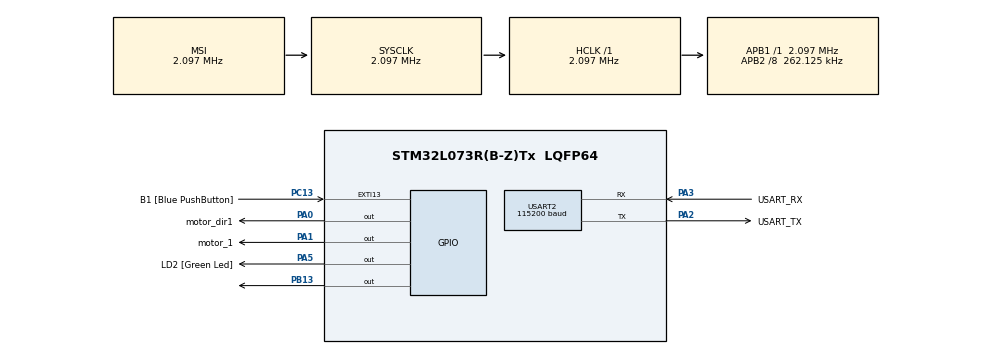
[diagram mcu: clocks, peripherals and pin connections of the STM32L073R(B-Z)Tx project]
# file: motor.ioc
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FREERTOS.BinarySemaphores01=myBinarySem01,Dynamic,NULL;UARTSem02,Dynamic,NULL
FREERTOS.Queues01=myQueue01,4,uint32_t,0,Dynamic,NULL,NULL
FREERTOS.Tasks01=defaultTask,40,128,StartDefaultTask,Default,NULL,Dynamic,NULL,NULL;Stepper_Task1,8,128,StartTask02,Default,NULL,Dynamic,NULL,NULL;Stepper_Task2,8,128,StartTask03,Default,NULL,Dynamic,NULL,NULL
FREERTOS.configUSE_NEWLIB_REENTRANT=1
Mcu.Family=STM32L0
Mcu.Name=STM32L073R(B-Z)Tx
Mcu.Package=LQFP64
NVIC.TIM6_DAC_IRQn=true\:3\:0\:false\:false\:true\:false\:false\:true\:true
NVIC.TimeBase=TIM6_DAC_IRQn
NVIC.TimeBaseIP=TIM6
NVIC.USART2_IRQn=true\:3\:0\:false\:false\:true\:true\:true\:true\:true
PA0.GPIO_Label=motor_dir1
PA0.Signal=GPIO_Output
PA1.GPIO_Label=motor_1
PA1.Signal=GPIO_Output
PA13.GPIO_Label=TMS
PA13.Mode=Serial_Wire
PA13.Signal=SYS_SWDIO
PA14.GPIO_Label=TCK
PA14.Mode=Serial_Wire
PA14.Signal=SYS_SWCLK
PA2.GPIO_Label=USART_TX
PA2.Mode=Asynchronous
PA2.Signal=USART2_TX
PA3.GPIO_Label=USART_RX
PA3.Mode=Asynchronous
PA3.Signal=USART2_RX
PA5.GPIO_Label=LD2 [Green Led]
PA5.Signal=GPIO_Output
PB13.Signal=GPIO_Output
PC13.GPIO_Label=B1 [Blue PushButton]
PC13.GPIO_ModeDefaultEXTI=GPIO_MODE_IT_FALLING
PC13.Signal=GPXTI13
PC14-OSC32_IN.Mode=LSE-External-Oscillator
PC14-OSC32_IN.Signal=RCC_OSC32_IN
PC15-OSC32_OUT.Mode=LSE-External-Oscillator
PC15-OSC32_OUT.Signal=RCC_OSC32_OUT
PH0-OSC_IN.GPIO_Label=MCO
PH0-OSC_IN.Mode=HSE-External-Oscillator
PH0-OSC_IN.Signal=RCC_OSC_IN
PH1-OSC_OUT.Mode=HSE-External-Oscillator
PH1-OSC_OUT.Signal=RCC_OSC_OUT
ProjectManager.HeapSize=0x200
ProjectManager.StackSize=0x400
ProjectManager.TargetToolchain=STM32CubeIDE
RCC.AHBFreq_Value=2097000
RCC.APB1Freq_Value=2097000
RCC.APB1TimFreq_Value=2097000
RCC.APB2CLKDivider=RCC_HCLK_DIV8
RCC.APB2Freq_Value=262125
RCC.APB2TimFreq_Value=524250
RCC.HCLKFreq_Value=2097000
RCC.HSE_VALUE=8000000
RCC.HSI16_VALUE=16000000
RCC.HSI48_VALUE=48000000
RCC.HSI_VALUE=16000000
RCC.MSI_VALUE=2097000
RCC.PLLMUL=RCC_PLLMUL_8
RCC.PLLSourceVirtual=RCC_PLLSOURCE_HSE
RCC.SYSCLKFreq_VALUE=2097000
RCC.Usart2ClockSelection=RCC_USART2CLKSOURCE_SYSCLK
RCC.VCOOutputFreq_Value=64000000
USART2.BaudRate=115200
USART2.VirtualMode-Asynchronous=VM_ASYNC
VP_FREERTOS_VS_CMSIS_V2.Mode=CMSIS_V2
VP_SYS_VS_tim6.Mode=TIM6
board=NUCLEO-L073RZ

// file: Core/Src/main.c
/* USER CODE BEGIN Header */
/**
  ******************************************************************************
  * @file           : main.c
  * @brief          : Main program body
  ******************************************************************************
  * @attention
  *
  * Copyright (c) 2024 STMicroelectronics.
  * All rights reserved.
  *
  * This software is licensed under terms that can be found in the LICENSE file
  * in the root directory of this software component.
  * If no LICENSE file comes with this software, it is provided AS-IS.
  *
  ******************************************************************************
  */
/* USER CODE END Header */
#include "main.h"
#include "cmsis_os.h"

/* USER CODE BEGIN Includes */
#include "stdio.h"
#include "string.h"
#include "Motor_control.h"
/* USER CODE END Includes */

/* USER CODE BEGIN PTD */

#ifdef __GNUC__
#define PUTCHAR_PROTOTYPE int __io_putchar(int ch)
#else
#define PUTCHAR_PROTOTYPE int fputc(int ch, FILE *f)
#endif
/* USER CODE END PTD */

 UART_HandleTypeDef huart2;

/* Definitions for defaultTask */
osThreadId_t defaultTaskHandle;
const osThreadAttr_t defaultTask_attributes = {
  .name = "defaultTask",
  .stack_size = 128 * 4,
  .priority = (osPriority_t) osPriorityHigh,
};
/* Definitions for Stepper_Task1 */
osThreadId_t Stepper_Task1Handle;
const osThreadAttr_t Stepper_Task1_attributes = {
  .name = "Stepper_Task1",
  .stack_size = 128 * 4,
  .priority = (osPriority_t) osPriorityLow,
};
/* Definitions for Stepper_Task2 */
osThreadId_t Stepper_Task2Handle;
const osThreadAttr_t Stepper_Task2_attributes = {
  .name = "Stepper_Task2",
  .stack_size = 128 * 4,
  .priority = (osPriority_t) osPriorityLow,
};
/* Definitions for myQueue01 */
osMessageQueueId_t myQueue01Handle;
const osMessageQueueAttr_t myQueue01_attributes = {
  .name = "myQueue01"
};
/* Definitions for myBinarySem01 */
osSemaphoreId_t myBinarySem01Handle;
const osSemaphoreAttr_t myBinarySem01_attributes = {
  .name = "myBinarySem01"
};
/* Definitions for UARTSem02 */
osSemaphoreId_t UARTSem02Handle;
const osSemaphoreAttr_t UARTSem02_attributes = {
  .name = "UARTSem02"
};
/* USER CODE BEGIN PV */

// Variables to hold incoming data
uint8_t rxByte;             // To hold one byte of data from the interrupt
uint8_t rxBuffer[20];       // Buffer to store the incoming command
uint8_t temp[5];  // Index to keep track of buffer position
int ind  = 0;

StepperMotor_t motor1 = {
				      .STEP_Port = motor_1_GPIO_Port,
				      .STEP_Pin = motor_1_Pin,
				      .DIR_Port = motor_dir1_GPIO_Port,
				      .DIR_Pin = motor_dir1_Pin,
				      .stepDelay = 1  // 1 ms delay between steps
				  };

MotorCommand_t Motorcommad1 ={
				.motorId= &motor1,
				  .targetAngle = 10,
				 .stepDelay=1
				  };
/* USER CODE END PV */

void SystemClock_Config(void);
static void MX_GPIO_Init(void);
static void MX_USART2_UART_Init(void);
void StartDefaultTask(void *argument);
void StartTask02(void *argument);
void StartTask03(void *argument);

int main(void)
{

  /* MCU Configuration--------------------------------------------------------*/

  /* Reset of all peripherals, Initializes the Flash interface and the Systick. */
  HAL_Init();

  /* Configure the system clock */
  SystemClock_Config();

  /* Initialize all configured peripherals */
  MX_GPIO_Init();
  MX_USART2_UART_Init();

  /* Init scheduler */
  osKernelInitialize();

  /* Create the semaphores(s) */
  /* creation of myBinarySem01 */
  myBinarySem01Handle = osSemaphoreNew(1, 1, &myBinarySem01_attributes);

  /* creation of UARTSem02 */
  UARTSem02Handle = osSemaphoreNew(1, 0, &UARTSem02_attributes);

  /* USER CODE BEGIN RTOS_SEMAPHORES */
  UARTSem02Handle = osSemaphoreNew(1, 0, &UARTSem02_attributes);
  /* add semaphores, ... */

  /* USER CODE END RTOS_SEMAPHORES */

  /* Create the queue(s) */
  /* creation of myQueue01 */
  myQueue01Handle = osMessageQueueNew (4, sizeof(uint32_t), &myQueue01_attributes);

  /* USER CODE BEGIN RTOS_QUEUES */
  /* add queues, ... */
  myQueue01Handle = osMessageQueueNew (16, sizeof(MotorCommand_t), &myQueue01_attributes);
  /* USER CODE END RTOS_QUEUES */

  /* Create the thread(s) */
  /* creation of defaultTask */
  defaultTaskHandle = osThreadNew(StartDefaultTask, NULL, &defaultTask_attributes);

  /* creation of Stepper_Task1 */
  Stepper_Task1Handle = osThreadNew(StartTask02, NULL, &Stepper_Task1_attributes);

  /* creation of Stepper_Task2 */
  Stepper_Task2Handle = osThreadNew(StartTask03, NULL, &Stepper_Task2_attributes);

  /* USER CODE BEGIN RTOS_EVENTS */
  /* add events, ... */
  printf("HELLOWORLD");
  /* USER CODE END RTOS_EVENTS */

  /* Start scheduler */
  osKernelStart();

  /* We should never get here as control is now taken by the scheduler */
  /* Infinite loop */
  /* USER CODE BEGIN WHILE */
  //osSemaphoreAcquire(UARTSem02Handle, osWaitForever);
  while (1)
  {
    /* USER CODE END WHILE */

  }
}

void SystemClock_Config(void)
{
  RCC_OscInitTypeDef RCC_OscInitStruct = {0};
  RCC_ClkInitTypeDef RCC_ClkInitStruct = {0};
  RCC_PeriphCLKInitTypeDef PeriphClkInit = {0};

  /** Configure the main internal regulator output voltage
  */
  __HAL_PWR_VOLTAGESCALING_CONFIG(PWR_REGULATOR_VOLTAGE_SCALE1);

  /** Initializes the RCC Oscillators according to the specified parameters
  * in the RCC_OscInitTypeDef structure.
  */
  RCC_OscInitStruct.OscillatorType = RCC_OSCILLATORTYPE_MSI;
  RCC_OscInitStruct.MSIState = RCC_MSI_ON;
  RCC_OscInitStruct.MSICalibrationValue = 0;
  RCC_OscInitStruct.MSIClockRange = RCC_MSIRANGE_5;
  RCC_OscInitStruct.PLL.PLLState = RCC_PLL_NONE;
  if (HAL_RCC_OscConfig(&RCC_OscInitStruct) != HAL_OK)
  {
    Error_Handler();
  }

  /** Initializes the CPU, AHB and APB buses clocks
  */
  RCC_ClkInitStruct.ClockType = RCC_CLOCKTYPE_HCLK|RCC_CLOCKTYPE_SYSCLK
                              |RCC_CLOCKTYPE_PCLK1|RCC_CLOCKTYPE_PCLK2;
  RCC_ClkInitStruct.SYSCLKSource = RCC_SYSCLKSOURCE_MSI;
  RCC_ClkInitStruct.AHBCLKDivider = RCC_SYSCLK_DIV1;
  RCC_ClkInitStruct.APB1CLKDivider = RCC_HCLK_DIV1;
  RCC_ClkInitStruct.APB2CLKDivider = RCC_HCLK_DIV8;

  if (HAL_RCC_ClockConfig(&RCC_ClkInitStruct, FLASH_LATENCY_0) != HAL_OK)
  {
    Error_Handler();
  }
  PeriphClkInit.PeriphClockSelection = RCC_PERIPHCLK_USART2;
  PeriphClkInit.Usart2ClockSelection = RCC_USART2CLKSOURCE_SYSCLK;
  if (HAL_RCCEx_PeriphCLKConfig(&PeriphClkInit) != HAL_OK)
  {
    Error_Handler();
  }
}

static void MX_USART2_UART_Init(void)
{

  huart2.Instance = USART2;
  huart2.Init.BaudRate = 115200;
  huart2.Init.WordLength = UART_WORDLENGTH_8B;
  huart2.Init.StopBits = UART_STOPBITS_1;
  huart2.Init.Parity = UART_PARITY_NONE;
  huart2.Init.Mode = UART_MODE_TX_RX;
  huart2.Init.HwFlowCtl = UART_HWCONTROL_NONE;
  huart2.Init.OverSampling = UART_OVERSAMPLING_16;
  huart2.Init.OneBitSampling = UART_ONE_BIT_SAMPLE_DISABLE;
  huart2.AdvancedInit.AdvFeatureInit = UART_ADVFEATURE_NO_INIT;
  if (HAL_UART_Init(&huart2) != HAL_OK)
  {
    Error_Handler();
  }
  /* USER CODE BEGIN USART2_Init 2 */
  HAL_UART_Receive_IT(&huart2, rxBuffer,6);
  /* USER CODE END USART2_Init 2 */

}

static void MX_GPIO_Init(void)
{
  GPIO_InitTypeDef GPIO_InitStruct = {0};

  /* GPIO Ports Clock Enable */
  __HAL_RCC_GPIOC_CLK_ENABLE();
  __HAL_RCC_GPIOH_CLK_ENABLE();
  __HAL_RCC_GPIOA_CLK_ENABLE();
  __HAL_RCC_GPIOB_CLK_ENABLE();

  /*Configure GPIO pin Output Level */
  HAL_GPIO_WritePin(GPIOA, motor_dir1_Pin|motor_1_Pin|LD2_Pin, GPIO_PIN_RESET);

  /*Configure GPIO pin Output Level */
  HAL_GPIO_WritePin(GPIOB, GPIO_PIN_13, GPIO_PIN_RESET);

  /*Configure GPIO pin : B1_Pin */
  GPIO_InitStruct.Pin = B1_Pin;
  GPIO_InitStruct.Mode = GPIO_MODE_IT_FALLING;
  GPIO_InitStruct.Pull = GPIO_NOPULL;
  HAL_GPIO_Init(B1_GPIO_Port, &GPIO_InitStruct);

  /*Configure GPIO pins : motor_dir1_Pin motor_1_Pin LD2_Pin */
  GPIO_InitStruct.Pin = motor_dir1_Pin|motor_1_Pin|LD2_Pin;
  GPIO_InitStruct.Mode = GPIO_MODE_OUTPUT_PP;
  GPIO_InitStruct.Pull = GPIO_NOPULL;
  GPIO_InitStruct.Speed = GPIO_SPEED_FREQ_LOW;
  HAL_GPIO_Init(GPIOA, &GPIO_InitStruct);

  /*Configure GPIO pin : PB13 */
  GPIO_InitStruct.Pin = GPIO_PIN_13;
  GPIO_InitStruct.Mode = GPIO_MODE_OUTPUT_PP;
  GPIO_InitStruct.Pull = GPIO_NOPULL;
  GPIO_InitStruct.Speed = GPIO_SPEED_FREQ_LOW;
  HAL_GPIO_Init(GPIOB, &GPIO_InitStruct);

}

/* USER CODE BEGIN 4 */

/**
  * @brief  Retargets the C library printf function to the USART.
  *   None
  * @retval None
  */
PUTCHAR_PROTOTYPE
{
  /* Place your implementation of fputc here */
  /* e.g. write a character to the USART1 and Loop until the end of transmission */
  HAL_UART_Transmit(&huart2, (uint8_t *)&ch, 1, 0xFFFF);

  return ch;
}

void HAL_UART_RxCpltCallback(UART_HandleTypeDef *huart)
{
    if (huart->Instance == USART2)
    {

        // Disable interrupt temporarily to prevent re-entrance issues
           __HAL_UART_DISABLE_IT(huart, UART_IT_RXNE);
           osSemaphoreRelease(UARTSem02Handle);
        // Continue receiving the next 12-byte command
        HAL_UART_Receive_IT(&huart2, rxBuffer, 6);

    }
}
/* USER CODE END 4 */

void StartDefaultTask(void *argument)
{
  /* USER CODE BEGIN 5 */

int count_task1;

  /* Infinite loop */
 osThreadSuspend(Stepper_Task1Handle);
 osThreadSuspend(Stepper_Task2Handle);

  for(;;)
  {
	  printf("StartDefaultTask\n");
	  if (osSemaphoreAcquire(UARTSem02Handle, osWaitForever) == osOK)
	  {
		  count_task1++;
		 HAL_UART_Receive(&huart2, rxBuffer,4,20);

		   // printf("DATA RECIVED %c",rxBuffer);
	   // Send motor command to queue
	  if (osMessageQueuePut(myQueue01Handle, &Motorcommad1, 0, osWaitForever) != osOK) {
		  printf("Failed to send to queue\n");
	      }

	  ind=0;
	  osThreadResume(Stepper_Task1Handle);
	  __HAL_UART_ENABLE_IT(&huart2, UART_IT_RXNE);
	  osDelay(10);  // Delay for a bit before sending another command
 //osSemaphoreRelease(UARTSem02Handle);

	  //osThreadSuspend(thread_id)
	  }
  }
  /* USER CODE END 5 */
}

void StartTask02(void *argument)
{
  /* USER CODE BEGIN StartTask02 */
	 MotorCommand_t receivedCommand;
	 int steps;
	 int count_task2;
  /* Infinite loop */
  for(;;)
  {
	  printf(" Task02 \n");

	          // Wait for a message from the queue
	          if(osMessageQueueGet(myQueue01Handle, &receivedCommand, NULL, osWaitForever) == osOK)
	          {
	              printf("Received motor command: ID=%p, Target Angle=%d, Step Delay=%d\n",
	                     (void *)receivedCommand.motorId, receivedCommand.targetAngle, receivedCommand.stepDelay);
	              count_task2++;
	              // Convert angle to steps and run the motor
	              steps = ConvertAngleToSteps(receivedCommand.targetAngle);
	              StepMotor_Pulse(receivedCommand.motorId, steps, receivedCommand.Direction);
	          }

	          osDelay(500);  // Delay for a bit before checking the queue again
	          printf(" Task02 \n");
	          osSemaphoreRelease(UARTSem02Handle);
  }
  /* USER CODE END StartTask02 */
}

void StartTask03(void *argument)
{
  /* USER CODE BEGIN StartTask03 */

  /* Infinite loop */
  for(;;)
  {

	  osDelay(10);
  }
  /* USER CODE END StartTask03 */
}

void HAL_TIM_PeriodElapsedCallback(TIM_HandleTypeDef *htim)
{
  if (htim->Instance == TIM6) {
    HAL_IncTick();
  }
}

void Error_Handler(void)
{
  __disable_irq();
  while (1)
  {
  }
}
